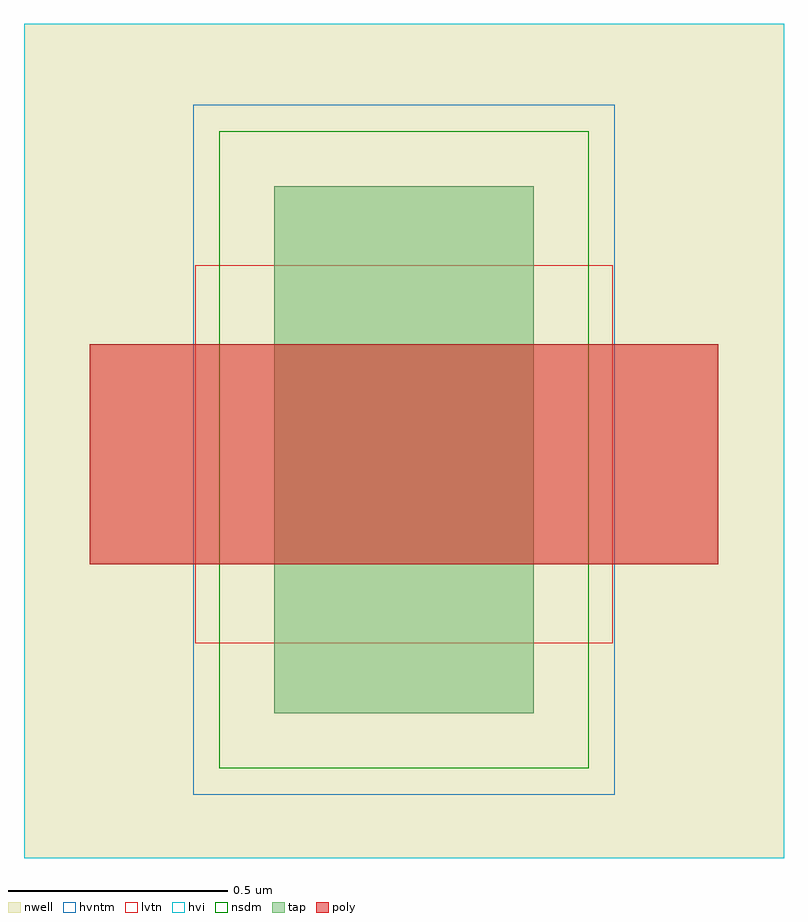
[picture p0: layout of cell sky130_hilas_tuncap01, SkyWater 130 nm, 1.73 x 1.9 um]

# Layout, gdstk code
import gdstk
lib = gdstk.Library(unit=1e-6, precision=1e-09)
def R(c, l, rs):  # rectangles x0, y0, x1, y1
    for r in rs: c.add(gdstk.rectangle(r[:2], r[2:], *l))
nwell = (64, 20)
tap = (65, 44)
poly = (66, 20)
hvi = (75, 20)
nsdm = (93, 44)
hvntm = (125, 20)
lvtn = (125, 44)

sky130_hilas_tuncap01 = lib.new_cell('sky130_hilas_tuncap01')
R(sky130_hilas_tuncap01, nwell, [(-14.51,-4,-12.78,-2.1)])
R(sky130_hilas_tuncap01, tap, [(-13.94,-3.67,-13.35,-2.47)])
R(sky130_hilas_tuncap01, poly, [(-14.36,-3.33,-12.93,-2.83)])
R(sky130_hilas_tuncap01, hvi, [(-14.51,-4,-12.78,-2.1)])
R(sky130_hilas_tuncap01, nsdm, [(-14.065,-3.795,-13.225,-2.345)])
R(sky130_hilas_tuncap01, hvntm, [(-14.125,-3.855,-13.165,-2.285)])
R(sky130_hilas_tuncap01, lvtn, [(-14.12,-3.51,-13.17,-2.65)])

lib.write_gds('sky130_hilas_tuncap01.gds')
